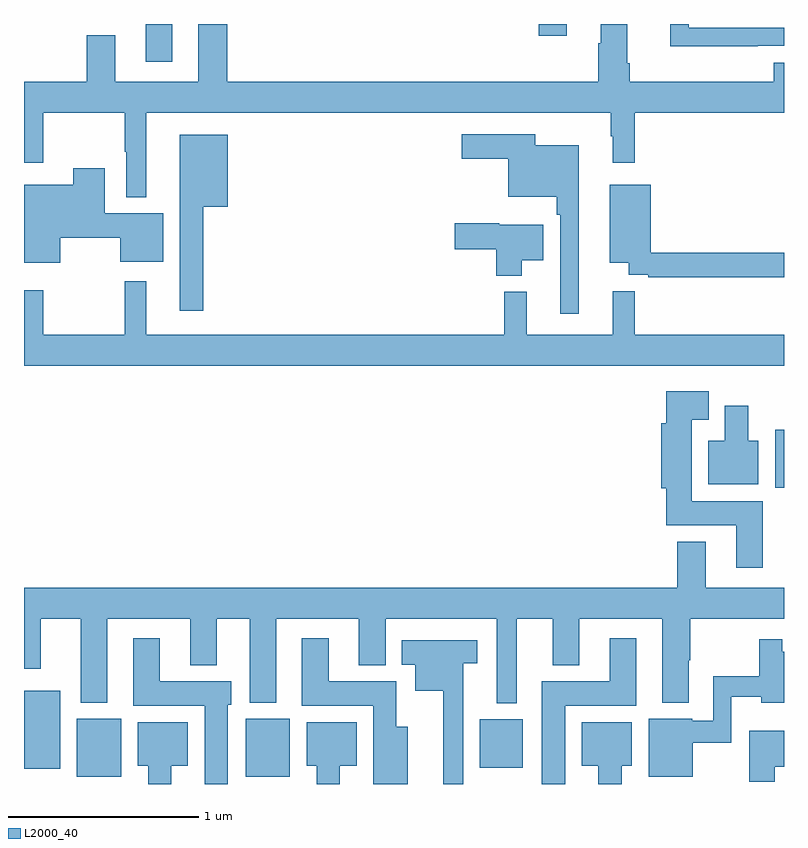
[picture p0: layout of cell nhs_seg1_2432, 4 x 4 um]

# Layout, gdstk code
import gdstk
lib = gdstk.Library(unit=1e-6, precision=1e-09)
def R(c, l, rs):  # rectangles x0, y0, x1, y1
    for r in rs: c.add(gdstk.rectangle(r[:2], r[2:], *l))
def P(c, l, *ps):  # polygons
    for p in ps: c.add(gdstk.Polygon(p, *l))
L2000_40 = (2000, 40)

nhs_seg1_2432 = lib.new_cell('nhs_seg1_2432')
R(nhs_seg1_2432, L2000_40, [(243.278,548.237,243.511,548.542), (244.166,548.237,244.399,548.542), (243,548.279,243.19,548.689), (245.399,548.285,245.626,548.539), (246.953,549.758,247,550.063), (243.641,552,243.781,552.199), (245.709,552.138,245.857,552.199)])
P(nhs_seg1_2432, L2000_40, [(243.643,551.732),(246.087,551.732),(246.087,551.609),(246.098,551.609),(246.098,551.469),(246.215,551.469),(246.215,551.732),(247,551.732),(247,551.995),(246.947,551.995),(246.947,551.896),(246.188,551.896),(246.188,551.992),(246.175,551.992),(246.175,552.199),(246.035,552.199),(246.035,552.098),(246.023,552.098),(246.023,551.896),(244.07,551.896),(244.07,552.199),(243.917,552.199),(243.917,551.896),(243.481,551.896),(243.481,552.139),(243.329,552.139),(243.329,551.896),(243,551.896),(243,551.469),(243.1,551.469),(243.1,551.732),(243.529,551.732),(243.529,551.527),(243.539,551.527),(243.539,551.288),(243.643,551.288)],
  [(246.863,552.084),(247,552.084),(247,552.18),(246.498,552.18),(246.498,552.199),(246.4,552.199),(246.4,552.083),(246.863,552.083)],
  [(245.92,551.56),(245.692,551.56),(245.692,551.62),(245.304,551.62),(245.304,551.491),(245.549,551.491),(245.549,551.291),(245.803,551.291),(245.803,551.195),(245.823,551.195),(245.823,550.674),(245.92,550.674)],
  [(243.943,551.237),(244.072,551.237),(244.072,551.617),(243.821,551.617),(243.821,550.689),(243.943,550.689)],
  [(243.19,551.075),(243.506,551.075),(243.506,550.949),(243.733,550.949),(243.733,551.203),(243.424,551.203),(243.424,551.44),(243.259,551.44),(243.259,551.353),(243,551.353),(243,550.943),(243.19,550.943)],
  [(247,550.994),(246.298,550.994),(246.298,551.353),(246.083,551.353),(246.083,550.943),(246.182,550.943),(246.182,550.878),(246.286,550.878),(246.286,550.866),(247,550.866)],
  [(245.62,550.955),(245.734,550.955),(245.734,551.143),(245.502,551.143),(245.502,551.151),(245.268,551.151),(245.268,551.014),(245.486,551.014),(245.486,550.874),(245.62,550.874)],
  [(247,550.564),(246.215,550.564),(246.215,550.793),(246.098,550.793),(246.098,550.564),(245.645,550.564),(245.645,550.789),(245.527,550.789),(245.527,550.564),(243.643,550.564),(243.643,550.846),(243.529,550.846),(243.529,550.564),(243.1,550.564),(243.1,550.798),(243,550.798),(243,550.4),(247,550.4)],
  [(246.889,549.688),(246.514,549.688),(246.514,550.115),(246.604,550.115),(246.604,550.267),(246.38,550.267),(246.38,550.099),(246.353,550.099),(246.353,549.755),(246.38,549.755),(246.38,549.56),(246.749,549.56),(246.749,549.336),(246.889,549.336)],
  [(246.865,550.006),(246.811,550.006),(246.811,550.189),(246.689,550.189),(246.689,550.006),(246.602,550.006),(246.602,549.776),(246.865,549.776)],
  [(245.593,549.068),(245.783,549.068),(245.783,548.825),(245.923,548.825),(245.923,549.068),(246.359,549.068),(246.359,548.627),(246.499,548.627),(246.499,548.851),(246.507,548.851),(246.507,549.068),(247,549.068),(247,549.232),(246.589,549.232),(246.589,549.475),(246.437,549.475),(246.437,549.232),(243,549.232),(243,548.805),(243.089,548.805),(243.089,549.068),(243.299,549.068),(243.299,548.627),(243.439,548.627),(243.439,549.068),(243.875,549.068),(243.875,548.825),(244.015,548.825),(244.015,549.068),(244.187,549.068),(244.187,548.627),(244.327,548.627),(244.327,549.068),(244.763,549.068),(244.763,548.825),(244.903,548.825),(244.903,549.068),(245.489,549.068),(245.489,548.624),(245.593,548.624)],
  [(245.02,548.5),(244.96,548.5),(244.96,548.74),(244.603,548.74),(244.603,548.965),(244.463,548.965),(244.463,548.612),(244.838,548.612),(244.838,548.199),(245.02,548.199)],
  [(245.848,548.612),(246.223,548.612),(246.223,548.965),(246.083,548.965),(246.083,548.74),(245.726,548.74),(245.726,548.199),(245.848,548.199)],
  [(244.072,548.616),(244.09,548.616),(244.09,548.74),(243.715,548.74),(243.715,548.965),(243.575,548.965),(243.575,548.612),(243.95,548.612),(243.95,548.199),(244.072,548.199)],
  [(246.52,548.416),(246.723,548.416),(246.723,548.657),(246.881,548.657),(246.881,548.627),(247,548.627),(247,548.896),(246.991,548.896),(246.991,548.962),(246.87,548.962),(246.87,548.767),(246.627,548.767),(246.627,548.532),(246.516,548.532),(246.516,548.542),(246.287,548.542),(246.287,548.237),(246.52,548.237)],
  [(245.311,548.834),(245.386,548.834),(245.386,548.956),(244.989,548.956),(244.989,548.827),(245.06,548.827),(245.06,548.69),(245.207,548.69),(245.207,548.199),(245.311,548.199)],
  [(243.775,548.294),(243.862,548.294),(243.862,548.524),(243.599,548.524),(243.599,548.294),(243.653,548.294),(243.653,548.199),(243.775,548.199)],
  [(246.145,548.294),(246.199,548.294),(246.199,548.524),(245.936,548.524),(245.936,548.294),(246.023,548.294),(246.023,548.199),(246.145,548.199)],
  [(244.663,548.294),(244.75,548.294),(244.75,548.524),(244.487,548.524),(244.487,548.294),(244.541,548.294),(244.541,548.199),(244.663,548.199)],
  [(246.952,548.291),(247,548.291),(247,548.479),(246.818,548.479),(246.818,548.21),(246.952,548.21)])

lib.write_gds('nhs_seg1_2432.gds')
